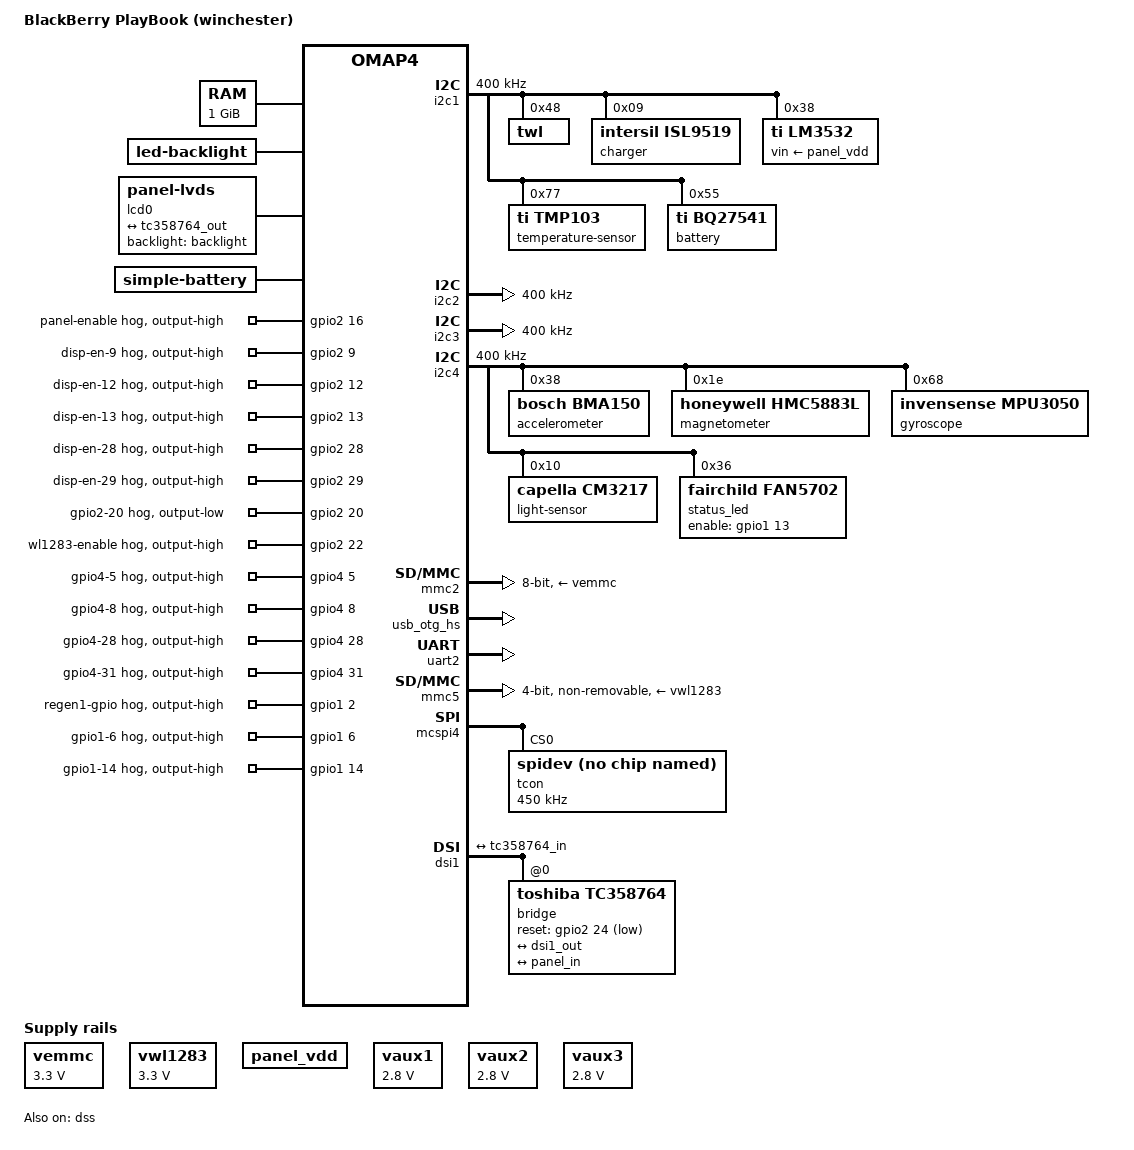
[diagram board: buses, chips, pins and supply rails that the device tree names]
// SPDX-License-Identifier: GPL-2.0-only
/*
 * BlackBerry PlayBook (RIM "winchester", OMAP4430 ES2.2 HS).
 *
 * Reverse-engineered from the running QNX OS (2.0.0.4869) register map and
 * the OS 2.0 IFS buildfile; no vendor DT exists.  Booted from the CRC-path
 * chainloader (r0=0, r1=0xffffffff, r2=DTB), not by the stock boot ROM.
 *
 * First-boot scope: memory, UART3 console, TWL6030 PMIC, eMMC on MMC2.
 * QNX already muxed/ clocked the pads the OS used (UART3, I2C1, MMC2), so
 * no pinctrl nodes are needed (and none are known yet).
 */

/dts-v1/;

#include "omap443x.dtsi"

/ {
	model = "BlackBerry PlayBook (winchester)";
	compatible = "blackberry,omap4-winchester", "ti,omap4430", "ti,omap4";

	/*
	 * The internal eMMC is soldered to a fixed 3.3 V rail (QNX keeps the
	 * TWL vmmc rail off - that one is the SD slot).  The MMC core takes
	 * host->ocr_avail from the vmmc-supply regulator's constraints, so
	 * without a supply it stays 0 and mmc_select_voltage() rejects the
	 * card with "no support for card's volts" (-EINVAL) even though the
	 * eMMC answers CMD1 with OCR 0xc0ff8080.
	 */
	vemmc: regulator-emmc {
		compatible = "regulator-fixed";
		regulator-name = "vemmc";
		regulator-min-microvolt = <3300000>;
		regulator-max-microvolt = <3300000>;
		regulator-always-on;
	};

	/*
	 * The WL1283 combo's SDIO I/O window (MMC5).  This does not switch a
	 * rail — the chip is powered by the bootloader and has no host-side
	 * regulator in RIM's own rail policy — it exists so the MMC core has a
	 * non-zero `ocr_avail` (same reason as vemmc; without it
	 * mmc_select_voltage() rejects the card with "no support for card's
	 * volts").
	 */
	vwl1283: regulator-wl1283 {
		compatible = "regulator-fixed";
		regulator-name = "vwl1283";
		regulator-min-microvolt = <3300000>;
		regulator-max-microvolt = <3300000>;
		/*
		 * Deliberately NOT gpio-controlled: the loader leaves WL_EN
		 * (GPIO2_22) high, and the whole point of `ti,no-reset-on-init`
		 * on gpio2_target is that nothing in this boot ever drops it —
		 * which is exactly the reference's condition.  The supply exists
		 * only to give the MMC core an ocr_avail window.
		 */
		regulator-always-on;
	};

	chosen {
		/* No stdout-path: it makes the 8250 driver register ttyS2 as a
		 * second console.  That console writes to the (dead) UART3 THR
		 * and would also split the capture between two writers.  The
		 * earlyprintk earlycon is the only console and writes every
		 * character into the DRAM ring. */
		/* clk_ignore_unused: keep the bootloader-armed WDT2's clock alive
		 * so a hung kernel still self-resets (the omap_wdt driver is a
		 * module and never loads, so clk_disable_unused would otherwise
		 * gate WD_TIMER2 and the bootrom window would never reappear). */
		/* loglevel=0: only KERN_EMERG reaches the console.  The boot
		 * prints are the only heavy DRAM writer; silencing them tells
		 * the DRAM event log/heartbeat whether the CPU survives past
		 * the ~1.5 s stall on its own. */
		bootargs = "earlyprintk keep_bootcon ignore_loglevel maxcpus=1 clk_ignore_unused panic=10 fw_devlink=permissive";
	};

	/* CRC/chainloader path: the zImage is entered at 0x84000000, so the
	 * decompressor lands the kernel at zreladdr = PHYS_OFFSET + 0x8000 =
	 * 0x80008000 (CONFIG_PHYS_OFFSET default 0x80000000).  The 64 GB
	 * PlayBook reports 1024 MB of Elpida DRAM at 0x80000000-0xBFFFFFFF
	 * (CFP `info`: two 512 MB banks), so the single 1 GB bank below is
	 * the one that contains the running kernel.  (The old 0xa0000000
	 * bank was sized for the kexec decompressor bucket and is wrong for
	 * this entry path.) */
	memory@80000000 {
		device_type = "memory";
		reg = <0x80000000 0x40000000>;
	};

	reserved-memory {
		#address-cells = <1>;
		#size-cells = <1>;
		ranges;

		/* DEBUG_LL capture rings (scatter-proven survivor pages); read
		 * back from the QNX side after the WDT2 warm reset.  no-map:
		 * they are never allocated and deliberately NOT in the linear
		 * map.  The kernel-proper writes them through the dedicated
		 * non-cacheable aliases installed in omap44xx_io_desc
		 * (0xFE800000/0xFE900000/0xFEA00000), so no cacheable alias
		 * exists and no cache maintenance is needed. */
		kexec_bc@88000000 {
			reg = <0x88000000 0x8000>;
			no-map;
		};
		kexec_bc@90000000 {
			reg = <0x90000000 0x8000>;
			no-map;
		};
		kexec_bc@94000000 {
			reg = <0x94000000 0x8000>;
			no-map;
		};
		kexec_bc@9fe00000 {
			reg = <0x9fe00000 0x8000>;
			no-map;
		};

		/* pbmon's 0x12 address-oracle pages (session 20).  The monitor
		 * may write a 16-byte nonce into any of the addresses these can
		 * resolve to, so each candidate is a page we own: the "low" page,
		 * its -0x10000000 shadow and its +0x10000000 shadow. */
		pbmon-low@a0200000 {
			reg = <0xa0200000 0x1000>;
			no-map;
		};
		pbmon-shadow@90200000 {
			reg = <0x90200000 0x1000>;
			no-map;
		};
		pbmon-high@b0200000 {
			reg = <0xb0200000 0x1000>;
			no-map;
		};
	};

	/* PL310 L2 — the payload keeps QNX's enabled L2 in whatever state it
	 * was left; the kernel's l2x0 driver reprograms aux/latency/prefetch
	 * through omap4_l2c310_write_sec (monitor SMCs 0x102/0x109/0x113).
	 * Latencies are the conservative 3-cycle values (QNX's 1-cycle
	 * config is the prime suspect for the session's wedges/corruption). */
	l2-cache@48242000 {
		compatible = "arm,pl310-cache";
		reg = <0x48242000 0x1000>;
		cache-unified;
		cache-level = <2>;
		arm,tag-latency = <3 3 3>;
		arm,data-latency = <3 3 3>;
	};
};

/* PMIC — TWL6030 on I2C1 (0x48072000), slave 0x48, IRQ_SYS_1N */
&i2c1 {
	clock-frequency = <400000>;

	twl: twl@48 {
		reg = <0x48>;
		interrupts = <GIC_SPI 7 IRQ_TYPE_LEVEL_HIGH>;
	};

	/*
	 * Intersil ISL9519 narrow-VDC charger, 7-bit 0x09 (report 183).  This
	 * is the board's real charger: the stock 1917 OS leaves it here and
	 * drives it, while the TWL6030 BCI stays at its bootloader reset
	 * values.  The driver writes 0x14/0x15 non-zero (the output is
	 * disabled while both are zero) and refreshes them every 5 s for the
	 * part's 175 s watchdog.
	 */
	charger@9 {
		compatible = "intersil,isl9519";
		reg = <0x9>;
	};

	/*
	 * Backlight LED driver, same bus, 7-bit 0x38 (report 111 §4.2 — this is
	 * NOT the TC358764; the bridge is programmed over DSI generic writes,
	 * not I2C).
	 *
	 * The chip is *gated* by GPIO2_16 (OMAP gpio_48, ball gpmc_a24,
	 * CONTROL_CORE_PAD0_G 0x4A100070[15:0]) — measured on the bench
	 * 2026-10-27 (report 120): with that line low 0x38 NAKs ("Remote I/O
	 * error"); driving it high makes 0x38 ACK immediately, and taking it
	 * low again removes it.  The reference OS leaves the line high; the
	 * Linux boot path resets GPIO2's OE/DATAOUT and leaves the pad in safe
	 * mode (mux 7), which is why every earlier probe failed and why binding
	 * the driver without the rail hung the bus.
	 *
	 * `vin-supply` orders the enable before the driver's first transfer
	 * (leds-lm3532 calls regulator_enable() before any I2C access).
	 */
	lm3532: led-controller@38 {
		compatible = "ti,lm3532";
		reg = <0x38>;
		vin-supply = <&panel_vdd>;
		status = "okay";
		#address-cells = <1>;
		#size-cells = <0>;

		bl_led: led@0 {
			reg = <0>;
			led-sources = <0>;
			ti,led-mode = <0>;
			label = ":backlight";
			led-max-microamp = <20000>;
		};
	};

	/*
	 * TI TMP103 thermal sensor at 0x77 (QNX `ti_tmp103.so`, the
	 * `omap4_lpddr_temp_monitor`).  The address is one of its four pin
	 * strappings (0x77..0x7a); this unit answers at 0x77.
	 */
	temperature-sensor@77 {
		compatible = "ti,tmp103";
		reg = <0x77>;
	};

	/*
	 * BQ27541-class fuel gauge at 0x55 (QNX `battery_win`).  The bq27xxx
	 * driver reads the standard command set; capacity/voltage/temperature
	 * need no profile.  The charger's `monitored-battery` must NOT point
	 * here: power_supply_get_battery_info() only accepts a node whose
	 * compatible is "simple-battery" (or a static Samsung battery), so it
	 * returned -ENODEV with this node (session 31).  See the battery
	 * profile at the end of the file.
	 */
	battery@55 {
		compatible = "ti,bq27541";
		reg = <0x55>;
	};
};

/*
 * QNX enumerates THREE omap i2c controllers (0x48070000, 0x48072000,
 * 0x48350000) and its /dev/i2c0 need not be the first of them, so we cannot
 * assume the LM3532 is on the TWL's bus.  Bring the other two up so all of
 * them can be scanned.  (The `.script` order is 0x48070000, 0x48072000,
 * 0x48350000.)  i2c4 stays off: it is the one QNX does not instantiate.
 */
&i2c2 {
	clock-frequency = <400000>;
	status = "okay";
};
&i2c3 {
	clock-frequency = <400000>;
	status = "okay";
};

/*
 * I2C4 (0x48350000) is the sensor bus.  QNX names it /dev/i2c3 and every
 * motion sensor, the ambient-light sensor, the FAN5702 and the WM8994 answer
 * there (report 176).  QNX does NOT instantiate I2C3 (0x48060000); it is the
 * unconfirmed touch bus, so it stays enabled but empty.  (Session 28, trap 91.)
 */
&i2c4 {
	clock-frequency = <400000>;
	status = "okay";

	/*
	 * Bosch BMA150 accelerometer: QNX sensor_config.xml, board Winchester
	 * rev 0, i2c_addr 0x38, int gpio 34 = GPIO2_2.  The driver polls when
	 * no interrupt is described, so the IRQ is left out for this bring-up.
	 */
	accelerometer@38 {
		compatible = "bosch,bma150";
		reg = <0x38>;
	};

	/* Honeywell HMC5883L magnetometer, 0x1e; int gpio 59 = GPIO2_27. */
	magnetometer@1e {
		compatible = "honeywell,hmc5883l";
		reg = <0x1e>;
	};

	/* InvenSense MPU-3050 gyroscope, 0x68; int gpio 50 = GPIO2_18. */
	gyroscope@68 {
		compatible = "invensense,mpu3050";
		reg = <0x68>;
	};

	/*
	 * Capella CM3217 ambient light sensor, 0x10 (and 0x11 for the other
	 * half of the count).  Not a cm32181: no register file, two slave
	 * addresses, bare one-byte transfers - see report 181 and
	 * drivers/iio/light/cm3217.c.  QNX drives it from `winchester-lc -d
	 * ls-cm3217` at 400 kHz on this bus.
	 */
	light-sensor@10 {
		compatible = "capella,cm3217";
		reg = <0x10>;
	};

	/*
	 * Fairchild FAN5702 status LED, 0x36.  GENERAL (0x10) bits
	 * 1/2/3 = red/green/blue; EN = GPIO1_13 (low resets, a low->high
	 * pulse enables).  From the QNX led-fan5702.so and LED-RE.md.
	 */
	status_led: led-controller@36 {
		compatible = "fairchild,fan5702";
		reg = <0x36>;
		#address-cells = <1>;
		#size-cells = <0>;

		enable-gpios = <&gpio1 13 GPIO_ACTIVE_HIGH>;
		pinctrl-names = "default";
		pinctrl-0 = <&fan5702_pins>;

		led@0 {
			reg = <0>;
			label = "red:status";
		};
		led@1 {
			reg = <1>;
			label = "green:status";
		};
		led@2 {
			reg = <2>;
			label = "blue:status";
		};
	};
};

#include "twl6030.dtsi"
#include "twl6030_omap4.dtsi"

/*
 * VAUX3 is ON in the reference OS — live `pmic-twl6030-ctl get_state vaux3`
 * on TabletOS reports "APP: ON, LDO: ON" (REGEN1 likewise; REGEN2 off).  It is
 * the most likely panel/backlight rail, and the LM3532 on I2C 0x38 holding the
 * bus looks exactly like an unpowered slave.  Force it on; read the result
 * back from /sys/class/regulator before trusting it.
 *
 * (This block must come AFTER the twl6030.dtsi include: dtc does not allow a
 * forward reference to a label that is only defined later in the tree.)
 */
/* VAUX1/VAUX2 are also ON at 2800 mV in the reference OS; Linux had both
 * enabled-but-unprogrammed, exactly like VAUX3.  One of the three is the
 * backlight/panel rail, so give all of them the reference voltage. */
&vaux1 {
	regulator-min-microvolt = <2800000>;
	regulator-max-microvolt = <2800000>;
	regulator-always-on;
	regulator-boot-on;
};

&vaux2 {
	regulator-min-microvolt = <2800000>;
	regulator-max-microvolt = <2800000>;
	regulator-always-on;
	regulator-boot-on;
};

&vaux3 {
	/*
	 * The reference OS reports VAUX3 at 2800 mV, APP:ON, LDO:ON
	 * (pmic-twl6030-ctl get_state/get_vout on TabletOS).  Linux had it
	 * enabled but with NO voltage at all, i.e. VSEL never programmed.
	 * A fixed min==max makes the regulator core apply it at registration
	 * (apply_uV), which programs VSEL to selector 19 = 2.8 V.
	 * 2.8 V is inside the LM3532's 2.7-5.5 V range, and QNX also
	 * configures the TWL's PWM block (slave 0x49 reg 0x92 <- 0x30), so
	 * this is the backlight rail.
	 */
	regulator-min-microvolt = <2800000>;
	regulator-max-microvolt = <2800000>;
	regulator-always-on;
	regulator-boot-on;
};

/*
 * VDAC and VANA are the only two rails the reference and Linux disagree about
 * (session 14, measured live on both):
 *
 *   reference (pmic-twl6030-ctl get_state/get_vout):  VDAC ON 1800 mV,
 *                                                     VANA ON 2100 mV
 *   Linux (/sys/class/regulator/*\/state):            VDAC disabled,
 *                                                     VANA disabled
 *
 * VANA/VDAC are analog supplies, and the one subsystem that does not work is
 * the analog end of the display chain (the DSI PHY's transmit path and the
 * bridge).  Only the enable is set here — get_vout reports both rails already
 * at their reference voltages, so there is nothing to program.
 */
&vdac {
	regulator-always-on;
	regulator-boot-on;
};

&vana {
	regulator-always-on;
	regulator-boot-on;
};

/*
 * PlayBook bring-up: keep the MMC2 interconnect target out of idle.
 *
 * The first MMC2 register access after a short idle window stalls
 * (timing-dependent: the 1 ms mmc_delay in mmc_go_idle, the STAT poll in
 * send_init_stream).  The target normally programs SIDLE/MIDLE to
 * SMART_WKUP (fls of the four listed modes), so the module is allowed to
 * request idle and l3_init_clkdm may gate the interface clock.  Force
 * SIDLE/MIDLE to NO so the module never asks to idle, and hold the ti-sysc
 * parent's runtime-PM usage count (ti,no-idle) so the module clock
 * (CLKCTRL MODULEMODE=ENABLED) is never dropped.  Bring-up only; this
 * should become a proper clkdm/power-domain policy once PM is up.
 */
&mmc2_target {
	ti,no-idle;
	ti,sysc-sidle = <SYSC_IDLE_NO>;
	ti,sysc-midle = <SYSC_IDLE_NO>;
};

/* Internal eMMC (Samsung, 64 GB class) on MMC2 @ 0x480B4000 — 8-bit, fixed */
&mmc2 {
	vmmc-supply = <&vemmc>;
	bus-width = <8>;
	ti,non-removable;
	/* eMMC only: do not send SDIO CMD52 or SD commands during rescan */
	no-sdio;
	no-sd;
	status = "okay";
};

/*
 * USB: the OMAP4 OTG/MUSB controller in peripheral (gadget) mode.  The DT
 * (omap4-l4.dtsi) already wires usb_otg_hs to the OMAP USB2 PHY and the
 * CONTROL USB mailbox; on the bench both were already live and in device role
 * (DPLL_USB locked, MUSB_DEVCTL=0x80 BSESSVLD, USBOTGHS_CONTROL=0x15), so no
 * PHY or VBUS work is expected - see report 112.
 */
&usb_otg_hs {
	status = "okay";
	/*
	 * The OMAP musb glue (omap2430.c) parses the *legacy* property `mode`,
	 * not `dr_mode`: extra it as a u32 and hands it to musb as plat->mode.
	 * Without it musb->port_mode stays 0 and the controller fails with
	 * "unsupported port mode 0" (no UDC, so no gadget).
	 * 0 = UNDEFINED, 1 = HOST, 2 = PERIPHERAL, 3 = OTG.
	 */
	mode = <2>;
	/*
	 * OMAP4430's OTG port uses the internal UTMI+ PHY, not ULPI (Panda
	 * uses interface-type = <1> too).  Without it the glue programs the
	 * ULPI path and the UTMI PHY is left in the wrong mode.
	 */
	interface-type = <1>;
	power = <50>;
};

/*
 * The VBUS/ID comparators live in the TWL6030, not in the OMAP PHY, so musb
 * only sees a session once this driver is probed with its rail.  Without it
 * the UDC binds but reports "not attached" (report 112 / bench run 2).
 * QNX keeps vusb alive across power transitions, so enabling it is expected.
 */
&twl_usb_comparator {
	usb-supply = <&vusb>;
};

/*
 * UART2 (0x4806C000) is the WL1283 combo's Bluetooth transport: QNX runs
 * `devc-seromap-winbt ... 0x4806c000^2,105` on it.  Enable it only to probe the
 * chip's BT core with `pbhci` — a reply to HCI_Reset proves the chip is powered
 * and its digital core runs, which is what the silent SDIO side cannot tell us
 * (session 29, report 180 §6).  Pad values are the reference's own readback.
 */
&omap4_pmx_core {
	uart2_pins: uart2-pins {
		pinctrl-single,pins = <
			OMAP4_IOPAD(0x11c, 0x4118)	/* uart2_rx  (in, pull-up) */
			OMAP4_IOPAD(0x11e, 0x0000)	/* uart2_tx  (out) */
		>;
	};
};

&uart2 {
	status = "okay";
	pinctrl-names = "default";
	pinctrl-0 = <&uart2_pins>;
};

/* no external SD slot, and the combos are not on MMC1 (see MMC5 below) */
&mmc1 {
	status = "disabled";
};

/*
 * Leave WDT2 exactly as the bootloader armed it.  The omap_wdt driver is a
 * module and never loads during bring-up, so nothing kicks it; with
 * clk_ignore_unused above its clock keeps running and the bootloader's
 * ~58 s timeout still resets a hung kernel, giving the recovery tool its
 * bootrom window without a power-cycle.
 */
&mmc3 {
	status = "disabled";
};
&mmc4 {
	status = "disabled";
};

/*
 * MMC5 (0x480D5000) is the TI WL1283 combo's SDIO bus — measured, not inferred
 * (session 29, trap 97).  io-pkt's process map (`pidin mem`) shows
 * devnp-ti1283.so holding `/dev/mem 0x480d5000` (8 KiB, the hsmmc block) and
 * the mmc5 interrupt attached as QNX vector 0x5b = GIC SPI 59, which is
 * exactly `mmc5` in omap4-l4.dtsi.  The sdmmc5 pads 0x148-0x152 read 0x0118
 * (mux 0, pull-up, input enable) on the running TabletOS while every sdmmc1
 * and sdmmc3 pad is still 0x000f (safe mode), and QNX never instantiates the
 * MMC1 controller at all.  Report 176's "mmc1" was the wrong controller.
 *
 * The I/O rail: the TWL's VMMC is switched OFF in RIM's own rail policy
 * (`/etc/system/config/pmic-twl6030.cfg`, "set_state vmmc off app con mod") —
 * that is the SD-slot rail and there is no SD slot.  The 1.8 V window below is
 * the one every mainline wl12xx board describes (e.g. omap4-epson-embt2ws);
 * the supply exists to give the MMC core an `ocr_avail` (as with vemmc), not to
 * switch anything.
 *
 * Step one is enumeration only: no wlcore child node yet, so the card comes up
 * as a bare SDIO device and the bus/power/pinctrl are the only variables.
 */
&omap4_pmx_core {
	sdmmc5_pins: sdmmc5-pins {
		pinctrl-single,pins = <
			OMAP4_IOPAD(0x148, PIN_INPUT_PULLUP | MUX_MODE0) /* sdmmc5_clk */
			OMAP4_IOPAD(0x14a, PIN_INPUT_PULLUP | MUX_MODE0) /* sdmmc5_cmd */
			OMAP4_IOPAD(0x14c, PIN_INPUT_PULLUP | MUX_MODE0) /* sdmmc5_dat0 */
			OMAP4_IOPAD(0x14e, PIN_INPUT_PULLUP | MUX_MODE0) /* sdmmc5_dat1 */
			OMAP4_IOPAD(0x150, PIN_INPUT_PULLUP | MUX_MODE0) /* sdmmc5_dat2 */
			OMAP4_IOPAD(0x152, PIN_INPUT_PULLUP | MUX_MODE0) /* sdmmc5_dat3 */
		>;
	};

	fref_clk2_out_pins: fref-clk2-out-pins {
		pinctrl-single,pins = <
			OMAP4_IOPAD(0x19c, 0x0000)	/* fref_clk2_out */
		>;
	};
};

&mmc5 {
	status = "okay";
	pinctrl-names = "default";
	pinctrl-0 = <&sdmmc5_pins &fref_clk_pins &fref_clk2_out_pins>;
	vmmc-supply = <&vwl1283>;
	bus-width = <4>;
	ti,non-removable;
	non-removable;
};

/*
 * The crypto engines live in l4_secure_clkdm (DES3DES, AES1/AES2,
 * SHA2MD5, RNG) and are behind the L3 firewall.  The ti-sysc revision
 * read at probe time is a non-secure access: on this unit it raises
 * "L3 Custom Error: MASTER MPU TARGET L4PER2 (Read)" and then an
 * imprecise external abort (0x1406) that kills the probe worker.
 * Keep them disabled until the secure world/firewall is understood.
 */
&des_target {
	status = "disabled";
};
&rng_target {
	status = "disabled";
};
&sham_target {
	status = "disabled";
};
&aes1_target {
	status = "disabled";
};
&aes2_target {
	status = "disabled";
};

/*
 * ABE (audio back end) is not needed for bring-up.  Its targets live in
 * abe_pwrdm/abe_clkdm; after l4_abe populates them, the WD_TIMER3 target
 * (0x40130000) hangs in the ti-sysc enable/softreset path right after its
 * revision read.  Disable the whole segment until ABE power/clock bring-up
 * is understood.
 */
&l4_abe {
	status = "disabled";
};

/*
 * SPI controllers are not needed for bring-up.  The MCSPI4 child probe
 * (0x480ba000) stalls right after its target is enabled, before the next
 * target is probed; keep all four off until the SPI/DMA path is debugged.
 */
&mcspi1 {
	status = "disabled";
};
&mcspi2 {
	status = "disabled";
};
&mcspi3 {
	status = "disabled";
};
/*
 * MCSPI4 = the panel's TCON control port.  QNX calls it /dev/spi3 and drives it
 * at 450 kHz to send the 9-word Hitachi init table (report 111 §3.5); without
 * that table the panel is lit but shows no image (report 120).
 *
 * Its four signals are on OMAP "Type 2" (SMART3IO) pads, CONTROL_CORE_PAD0_M,
 * and the reference muxes only three of them (somi is left in safe mode — the
 * TCON is write-only):
 *
 *   0x4A100070+…   0x154[15:0]  mcspi4_clk   0x1700  (mux 0 + off-mode bits)
 *                  0x154[31:16] mcspi4_simo  0x1700
 *                  0x158[31:16] mcspi4_cs0   0x1708
 *                  0x158[15:0]  mcspi4_somi  0x000f  (safe mode, unused)
 *
 * The values are the reference's own readback, not a decoding of the pad
 * fields (§18.4.12.9.4 is opaque enough that copying is safer).
 */
/*
 * The WL1283's reference clock comes OUT of the SoC and is requested by the
 * chip with CLK_REQ.  The vendor's own config says so:
 * local/work/qnx-fw/tiwlan_winchester.ini, `STRFRefClock = 2` (38.4 MHz) with
 * "Bit 3 - CLK_REQ type, 0 = wired-OR", and `STRFRefClockSettingTime = 5` —
 * "the time from asserting CLK_REQ (low to high) to valid FREF clock on the
 * device inputs".  A WiLink with no running reference clock has no running
 * digital core: it cannot answer SDIO, cannot answer HCI on UART2 and its IRQ
 * line never goes high, which is exactly what this unit does.
 *
 * These pads live in the WKUP padconf at 0x4A31E000 — a block this project had
 * never compared with the reference.  The reference muxes the request half of
 * each pair:
 *
 *   0x4A31E050  FREF_CLK0_OUT / FREF_CLK3_REQ   ours 0x01080000  ref 0x00080000
 *   0x4A31E054  FREF_CLK0_OUT / FREF_CLK3_REQ   ours 0x010F0002  ref 0x000F0003
 *   0x4A31E058  FREF_CLK3_OUT / FREF_CLK4_REQ   ours 0x0108010F  ref 0x000B0003
 *   0x4A31E05C  FREF_CLK4_OUT / SYS_32K         ours 0x01000108  ref 0x0100000B
 *
 * The values are the reference's own readback, as with the display pads.
 */
&omap4_pmx_wkup {
	/*
	 * Offsets are relative to the pinmux node's own reg base (0x40), so the
	 * reference's 0x4A31E050..0x05C are 0x10..0x1C here.
	 */
	/*
	 * Pin 10 (0x4A31E050) is already claimed by the TWL6030 ("0-0048"),
	 * which wants FREF_CLK0_OUT as its own 32 kHz/oscillator clock — so it
	 * is not in this group.  The three the reference muxes differently and
	 * nothing else owns are below.
	 */
	fref_clk_pins: fref-clk-pins {
		pinctrl-single,pins = <
			0x018 0x000B0003	/* FREF_CLK4_OUT / FREF_CLK4_REQ */
		>;
	};
};

/*
 * The reference leaves the TWL6030 MSECURE ball on fref_clk0_out in
 * MUX_MODE2 (0x000F0003), not in safe mode.  mainline's twl6030_omap4.dtsi
 * claims this pin for exactly that mux, so it has to be expressed as a pad
 * setting rather than folded into the group above (the pin is single-owner).
 */
&omap4_pmx_wkup {
	playbook_twl_wkup_pins: twl-wkup-pins {
		pinctrl-single,pins = <
			0x014 0x000F0003	/* fref_clk0_out / fref_clk3_req */
		>;
	};
};

/* Give the TWL's MSECURE pad setting a consumer on a device that always probes. */
&twl {
	pinctrl-names = "default";
	pinctrl-0 = <&twl6030_pins &playbook_twl_wkup_pins>;
};

&omap4_pmx_core {
	mcspi4_pins: mcspi4-pins {
		pinctrl-single,pins = <
			OMAP4_IOPAD(0x154, 0x1700)	/* mcspi4_clk  (gpio_151) */
			OMAP4_IOPAD(0x156, 0x1700)	/* mcspi4_simo (gpio_152) */
			OMAP4_IOPAD(0x15a, 0x1708)	/* mcspi4_cs0  (gpio_154) */
		>;
	};
};

&mcspi4 {
	status = "okay";
	pinctrl-names = "default";
	pinctrl-0 = <&mcspi4_pins>;

	/* spidev so the initramfs console can send the TCON table; replace with a
	 * real panel driver once the sequence is confirmed on the bench. */
	tcon@0 {
		compatible = "rohm,dh2228fv";
		reg = <0>;
		spi-max-frequency = <450000>;
	};
};

/* predictable /dev/spidev3.0, matching QNX's /dev/spi3 */
/ {
	aliases {
		spi3 = &mcspi4;
	};
};

/*
 * EMIF1/EMIF2 are the DRAM controllers (0x4c000000 / 0x4d000000).  They
 * are already set up by the bootloader/QNX and must not be reset from the
 * non-secure kernel: probing EMIF2 stalls right after its revision read
 * (and touching a live DRAM controller is not something bring-up should
 * do).  The memory node describes the RAM; the ti,emif driver is optional.
 * clk_ignore_unused keeps their clock alive.
 */
&emif1_target {
	status = "disabled";
};
&emif2_target {
	status = "disabled";
};

/*
 * DSS (display) and IVA-HD sit in powered-off domains left by QNX.  Their
 * ti-sysc reset path polls SYSSTATUS and stalls; skip the init-time reset
 * for now (the child DSS/IPU drivers stay disabled until display bring-up).
 */
&dss_target {
	ti,no-reset-on-init;
};

/* GPU (SGX) and IVA-HD have no in-tree driver / are not needed yet. */
&sgx_module {
	status = "disabled";
};
&iva_hd_target {
	status = "disabled";
};

/* ---------------------------------------------------------------- display */
/*
 * DSI1 -> TC358764 (DSI/LVDS) -> the panel's LVDS input, 1024x600 @ 60 Hz.
 *
 * Every number here was measured from the running reference OS, not inferred
 * (report 118): HBP/HFP/HSW = 138/162/20, VBP/VFP/VSW = 12/12/1, Htotal 1344,
 * Vtotal 625, pixel clock 50.400 MHz, no sync inversion, pixel data on the
 * rising edge.  The DSI link runs FOUR data lanes of RGB888: 1024x600x24bpp at
 * 60 Hz is 1.2096 Gbps, i.e. 302.4 Mbps/lane and a 37.8 MHz byte clock, which is
 * exactly the reference's TL 1008.  (An earlier two-lane build ran 75.6 MHz and
 * was wrong — report 121 §11.)
 *
 * The panel itself is an LVDS panel with an SPI control port (MCSPI4, QNX's
 * /dev/spi3) and an LM3532 backlight on I2C 0x38.  Neither has a driver yet:
 * until they do, the DSS/DSI pipeline can run but the panel stays dark
 * (report 118 §6.1 proved that on the reference OS itself).
 */
&dss {
	status = "okay";
};

&dsi1 {
	status = "okay";

	port {
		dsi1_out: endpoint {
			remote-endpoint = <&tc358764_in>;
			/*
			 * lane pairs: clock + DATA1..DATA4.  The reference uses
			 * FOUR data lanes, not two: DSI_COMPLEXIO_CFG1 reads
			 * 0x2A054321 on QNX (CLK=1 DATA1=2 DATA2=3 DATA3=4
			 * DATA4=5) against 0x2A000321 for a two-lane build.
			 * With 4 lanes, 1024x600x24bpp at 50.4 MHz is
			 * 1.2096 Gbps total = 302 Mbps/lane = a 37.8 MHz byte
			 * clock, which is exactly QNX's PLL (REGM 756/REGN 95,
			 * txbyteclkhs 37.8 MHz).  The two-lane build forced a
			 * 75.6 MHz byte clock instead.
			 */
			lanes = <0 1 2 3 4 5 6 7 8 9>;
		};
	};

	bridge@0 {
		compatible = "toshiba,tc358764";
		reg = <0>;		/* DSI virtual channel, not an address */
		/*
		 * TC358764 RESETN = GPIO2_24 (gpio_56, pad 0x4A100080).  Report
		 * 122 proved it from winch_lcdctl: CLEARDATAOUT 0x01000000 at
		 * vaddr 0x192d4, usleep(20000), SETDATAOUT at 0x19338,
		 * usleep(20000) - i.e. a 20 ms active-LOW pulse, taken after the
		 * DSI programming and before the panel strap read.  Holding the
		 * line statically high (as we did) never gives the bridge a
		 * reset edge, which is why it never answered SYS_ID.
		 */
		reset-gpios = <&gpio2 24 GPIO_ACTIVE_LOW>;

		/*
		 * The QNX boot set never writes a pad mux (report 122), so on
		 * the reference the RIM bootloader has already muxed these
		 * balls; our chainloader does not.  Two of them are the
		 * bridge's own GPIO status balls, wired back into the OMAP and
		 * used by QNX as its bridge self-test ("GPIO status good
		 * (GPIO36 and GPIO171 high)"): they must be muxed as GPIO for
		 * the diagnostic to mean anything.
		 */
		pinctrl-names = "default";
		pinctrl-0 = <&bridge_pins>;

		lanes = <4>;
		hs-rate = <604800000>;
		/*
		 * 10.08 MHz is the reference's LP escape clock: with the
		 * reference's 100.8 MHz DSI functional clock (clkdco / 6)
		 * that is DSI_CLK_CTRL.LP_CLK_DIVISOR = 5, exactly QNX's
		 * 0xA0346005 word.  The old 10 MHz made the divisor 6.
		 */
		lp-rate = <10080000>;

		ports {
			#address-cells = <1>;
			#size-cells = <0>;

			port@0 {
				reg = <0>;
				tc358764_in: endpoint {
					remote-endpoint = <&dsi1_out>;
				};
			};

			port@1 {
				reg = <1>;
				tc358764_out: endpoint {
					remote-endpoint = <&panel_in>;
				};
			};
		};
	};
};

/*
 * Panel/display enables on GPIO2.
 *
 * The reference OS drives six GPIO2 lines high and holds them:
 * `GPIO2_DATAOUT = 0x31013200` (bits 9, 12, 13, 16, 28, 29), with those bits
 * output (`GPIO2_OE = 0xce3ecd5f`) — report 118 §10.1.  Linux's boot path
 * resets GPIO2 (`OE = 0xffffffff`, `DATAOUT = 0`) and leaves the pads in safe
 * mode, so none of them is driven.
 *
 * Bit 16 is the LM3532's gate (measured causally, report 120 §0.3).  The other
 * five are held high by the reference and have never been validly tested (every
 * earlier attempt was made with the backlight dark, so a panel-side change was
 * invisible).  They are hogged here, matching the reference.
 *
 * It is a HOG, not a regulator GPIO: the lines have to be up *before* the
 * devices probe, and a regulator-fixed only drives its GPIO at
 * regulator_init_complete (late_initcall_sync), which lost the race with async
 * probing (report 120 §1.1).  Hogs are applied at gpiochip registration.
 *
 * Pad values are the reference's own 16-bit readbacks for the pads in these
 * words (CONTROL_CORE_PAD0_G 0x4A100060/0x068/0x070/0x088); writing both
 * halves keeps the paired pad on the same function QNX leaves it on.
 */
&omap4_pmx_core {
	panel_en_pins: panel-en-pins {
		pinctrl-single,pins = <
			OMAP4_IOPAD(0x060, 0x410b)	/* gpio_41  (GPIO2_9)  */
			OMAP4_IOPAD(0x062, 0x0003)
			OMAP4_IOPAD(0x068, 0x0003)	/* gpio_45  (GPIO2_13) */
			OMAP4_IOPAD(0x06a, 0x0003)
			OMAP4_IOPAD(0x070, 0x0003)	/* gpio_48  (GPIO2_16) */
			OMAP4_IOPAD(0x072, 0x4103)
			OMAP4_IOPAD(0x088, 0x0003)	/* gpio_60/61 (2_28/2_29) */
			OMAP4_IOPAD(0x08a, 0x0003)
		>;
	};

	/* bridge reset + the bridge's two status balls (report 122) */
	bridge_pins: bridge-pins {
		pinctrl-single,pins = <
			OMAP4_IOPAD(0x080, 0x4003)	/* gpio_56  (GPIO2_24) RESETN */
			OMAP4_IOPAD(0x058, 0x011b)	/* gpio_36  (GPIO2_4)  in */
			OMAP4_IOPAD(0x17c, 0x0103)	/* gpio_171 (GPIO6_11) in */
			/*
			 * gpmc_ncs2 / gpmc_ncs3.  The reference drives both as
			 * GPIO outputs, low: pad word 0x4A100078 reads
			 * 0x410B4103 on TabletOS against 0x011F011F here
			 * (safe mode, pulled high).  These two words were the
			 * only ones in the display group never captured — the
			 * earlier comparison used 0x060/0x068/0x070/0x088
			 * only.  The GPIO outputs are set low by the hogs
			 * below, matching the reference's GPIO2_DATAOUT.
			 */
			OMAP4_IOPAD(0x078, 0x4103)	/* gpio_52  (GPIO2_20) out */
			OMAP4_IOPAD(0x07a, 0x410b)	/* gpio_53  (GPIO2_21) out */
		>;
	};
};

/*
 * Do not reset the GPIO2 module at probe.  Its DATAOUT holds the reference's
 * steady-state outputs — including GPIO2_22, the WL1283 enable — and the reset
 * drops every one of them to 0 for the duration of the probe.  On the reference
 * the line is never low after boot, and a bare low->high on it does not bring
 * the WL1283 back (session 29), so the glitch is worth removing: ti-sysc's
 * reset is skipped and the hogs below re-assert the same values anyway.
 */
&gpio2_target {
	ti,no-reset-on-init;
};

&gpio2 {
	pinctrl-names = "default";
	pinctrl-0 = <&panel_en_pins &wl1283_ctrl_pins>;

	/* LM3532 / panel I2C gate — measured (report 120) */
	panel-en-hog {
		gpio-hog;
		gpios = <16 GPIO_ACTIVE_HIGH>;
		output-high;
		line-name = "panel-enable";
	};

	/* the other six lines the reference holds high (bits 9, 12, 13, 24, 28, 29) */
	disp-en-9-hog {
		gpio-hog;
		gpios = <9 GPIO_ACTIVE_HIGH>;
		output-high;
		line-name = "disp-en-9";
	};
	disp-en-12-hog {
		gpio-hog;
		gpios = <12 GPIO_ACTIVE_HIGH>;
		output-high;
		line-name = "disp-en-12";
	};
	disp-en-13-hog {
		gpio-hog;
		gpios = <13 GPIO_ACTIVE_HIGH>;
		output-high;
		line-name = "disp-en-13";
	};
	disp-en-28-hog {
		gpio-hog;
		gpios = <28 GPIO_ACTIVE_HIGH>;
		output-high;
		line-name = "disp-en-28";
	};
	disp-en-29-hog {
		gpio-hog;
		gpios = <29 GPIO_ACTIVE_HIGH>;
		output-high;
		line-name = "disp-en-29";
	};

	/*
	 * gpio_52 (GPIO2_20): the reference configures it as a GPIO output and
	 * its GPIO2_DATAOUT does not set the bit, so it is driven LOW.  We used
	 * to leave it in safe mode, i.e. high.  See bridge_pins above.
	 *
	 * gpio_53 (GPIO2_21) is NOT an output: it is the WL1283's interrupt
	 * line (session 29, report 180 — the QNX driver sets it as an input
	 * with a falling-edge detect, `omap4_gpio_set_direction(53, 1)`).
	 * Driving it low fights the chip's own driver; leave it to the MMC
	 * pwrseq/DT and do not hog it.
	 */
	disp-en-20-hog {
		gpio-hog;
		gpios = <20 GPIO_ACTIVE_HIGH>;
		output-low;
		line-name = "gpio2-20";
	};

	/*
	 * WL1283 WLAN/BT enable, gpio_54 = GPIO2_22 (pad gpmc_nwp 0x07c).  The
	 * loader leaves it LOW and the QNX driver raises it; hold it high here so
	 * the chip is powered for the UART2/HCI probe.
	 */
	wl1283-en-hog {
		gpio-hog;
		gpios = <22 GPIO_ACTIVE_HIGH>;
		output-high;
		line-name = "wl1283-enable";
	};

};

/*
 * GPIO4_5 / _8 / _28 / _31: the reference drives all four high
 * (`GPIO4_OE = 0x6ffffe1c`, `GPIO4_DATAOUT = 0x90000120`, report 118 §10.1,
 * re-measured session 29), and our boot leaves the whole bank at its reset
 * state (`OE = 0xffffffff`, `DATAOUT = 0`) — the only GPIO output difference
 * from the reference that the readable banks do not explain.  Report 118 §10.1
 * listed them as untested display candidates; the display works now, so they
 * are more likely the combo's board-level enables.  Mirror the reference.
 */
&gpio4 {
	ref-hog-5 {
		gpio-hog;
		gpios = <5 GPIO_ACTIVE_HIGH>;
		output-high;
		line-name = "gpio4-5";
	};
	ref-hog-8 {
		gpio-hog;
		gpios = <8 GPIO_ACTIVE_HIGH>;
		output-high;
		line-name = "gpio4-8";
	};
	ref-hog-28 {
		gpio-hog;
		gpios = <28 GPIO_ACTIVE_HIGH>;
		output-high;
		line-name = "gpio4-28";
	};
	ref-hog-31 {
		gpio-hog;
		gpios = <31 GPIO_ACTIVE_HIGH>;
		output-high;
		line-name = "gpio4-31";
	};
};

/*
 * The reference also drives four GPIO1 lines high: `GPIO1_DATAOUT = 0x00006044`
 * (bits 2, 6, 13, 14) with OE bits 2/6/13/14 output.  Linux's boot path resets
 * GPIO1 outright (`DATAOUT = 0`), so on every boot so far these have been low
 * while the reference holds them high.
 *
 * The TC358764's reset line is still unidentified and the bridge's supplies are
 * dummy regulators (`supply vddlvds not found`), so a line here is a plausible
 * RESETN / bridge-power enable — and an unreset bridge cannot answer the DSI
 * bus turnaround, which is exactly what the log shows ("bta sync failed",
 * "ID: 0x0").  Only the pads the reference actually muxes as GPIO are set
 * (gpio_2 at 0x190, gpio_14 at 0x1b4; gpio_13's pad 0x1b0 is in safe mode on
 * the reference too, and gpio_6's pad is not in the TRM's CORE table).
 */
&omap4_pmx_core {
	gpio1_en_pins: gpio1-en-pins {
		pinctrl-single,pins = <
			OMAP4_IOPAD(0x190, 0x0003)	/* gpio_2  (GPIO1_2)  */
			OMAP4_IOPAD(0x1b4, 0x0003)	/* gpio_14 (GPIO1_14) */
		>;
	};

	/* FAN5702 EN = GPIO1_13, pad 0x1b0 (TRM mux 3 = gpio_13) */
	fan5702_pins: fan5702-pins {
		pinctrl-single,pins = <
			OMAP4_IOPAD(0x1b0, 0x0003)
		>;
	};

	/*
	 * WL1283 control lines.  gpio_54 (GPIO2_22, pad gpmc_nwp 0x07c) is the
	 * WLAN enable; the reference leaves that pad at 0x0003 (mux 3 = gpio,
	 * no pulls) with GPIO2_DATAOUT bit 22 set.  gpio_53 (GPIO2_21, pad
	 * gpmc_ncs3 0x07a) is the WLAN interrupt and is already muxed by
	 * bridge_pins above as an input.
	 */
	wl1283_ctrl_pins: wl1283-ctrl-pins {
		pinctrl-single,pins = <
			OMAP4_IOPAD(0x07c, 0x0003)	/* gpmc_nwp = gpio_54 (WL_EN) */
		>;
	};
};

&gpio1 {
	pinctrl-names = "default";
	pinctrl-0 = <&gpio1_en_pins>;

	gpio1-en-2-hog {
		gpio-hog;
		gpios = <2 GPIO_ACTIVE_HIGH>;
		output-high;
		line-name = "regen1-gpio";
	};
	gpio1-en-6-hog {
		gpio-hog;
		gpios = <6 GPIO_ACTIVE_HIGH>;
		output-high;
		line-name = "gpio1-6";
	};
	gpio1-en-14-hog {
		gpio-hog;
		gpios = <14 GPIO_ACTIVE_HIGH>;
		output-high;
		line-name = "gpio1-14";
	};
};

/ {
	/*
	 * The panel rail itself is always on (the LM3532 keeps its register
	 * state across an OMAP reset, so it is not switched by us); only the
	 * enable line above is under software control.  Kept as a regulator so
	 * the LM3532 can name it as `vin-supply` and probe after it.
	 */
	panel_vdd: regulator-panel-vdd {
		compatible = "regulator-fixed";
		regulator-name = "panel_vdd";
		regulator-always-on;
		regulator-boot-on;
	};

	/*
	 * Backlight: the LM3532 sits at 7-bit 0x38 on the TWL's bus
	 * (0x48070000 = &i2c1 = /dev/i2c-0), and nothing else drives it at
	 * splash time on the reference OS either (report 111 §4.3 / 118 §6.1:
	 * a correct DSS+DSI mode still leaves the panel DARK until this is on).
	 * default-brightness-level is non-zero on purpose: an LED class device
	 * otherwise comes up at 0 and nothing lights.
	 */
	backlight: backlight {
		compatible = "led-backlight";
		leds = <&bl_led>;
		default-brightness-level = <255>;
		/*
		 * default-brightness-level is non-zero on purpose: an LED class
		 * device otherwise comes up at 0 and nothing lights.  The panel
		 * node names this as its backlight, so drm_panel unblanks it.
		 */
		status = "okay";
	};

	lcd0: panel-lvds {
		compatible = "panel-lvds";
		/* the TC358764 LV_MX map is written as VESA-24 by its driver */
		data-mapping = "vesa-24";
		width-mm = <153>;
		height-mm = <90>;
		/* drm_panel enables/unblanks this at panel-enable time;
		 * without the link the backlight stays at bl_power=4 (report 120). */
		backlight = <&backlight>;

		panel-timing {
			clock-frequency = <50400000>;
			hactive = <1024>;
			vactive = <600>;
			hback-porch = <138>;
			hfront-porch = <162>;
			hsync-len = <20>;
			vback-porch = <12>;
			vfront-porch = <12>;
			vsync-len = <1>;
			hsync-active = <1>;
			vsync-active = <1>;
			de-active = <1>;
			pixelclk-active = <1>;
		};

		port {
			panel_in: endpoint {
				remote-endpoint = <&tc358764_out>;
			};
		};
	};
};

/*
 * TWL6030 BCI charger.  The board carried no charger child at all, so
 * CONFIG_CHARGER_TWL6030=m built but never probed and the pack ran flat on
 * USB (session 30, trap 108).  The mainline binding needs the two charger
 * interrupts and the monitored battery; VBUS voltage is GPADC channel 10 (the
 * channel the TWL6032 mainline board uses too).  QNX's power service owns the
 * BCI on the reference, so the charge limits the bootloader left in
 * CHARGERUSB_CTRLLIMIT1/2 are the fallback when the profile reports none.
 */
&twl {
	charger {
		compatible = "ti,twl6030-charger";
		interrupts = <2>, <5>;
		io-channels = <&twl_gpadc 10>;
		io-channel-names = "vusb";
		monitored-battery = <&battery>;
	};
};

/*
 * Battery profile for the charger, deliberately separate from the bq27541
 * gauge node: power_supply_get_battery_info() resolves `monitored-battery` and
 * requires compatible = "simple-battery", otherwise the BCI probe fails with
 * -ENODEV (measured in session 31).  No properties on purpose: the driver then
 * falls back to the bootloader's CHARGERUSB_CTRLLIMIT1/2, measured on this
 * unit as 0x21 -> 4.16 V and 0x08 -> 900 mA, both inside its accepted ranges.
 */
/ {
	battery: battery {
		compatible = "simple-battery";
	};
};
